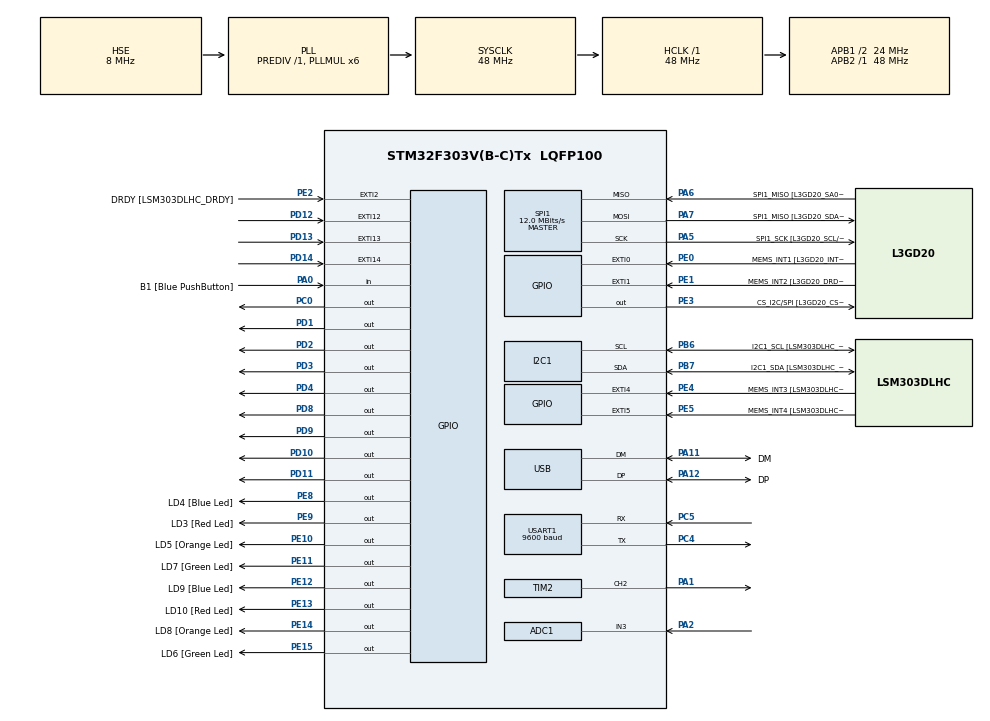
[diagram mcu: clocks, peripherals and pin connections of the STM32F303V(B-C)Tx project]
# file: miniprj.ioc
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ADC1.Channel-0\#ChannelRegularConversion=ADC_CHANNEL_3
ADC1.ContinuousConvMode=ENABLE
ADC1.NbrOfConversionFlag=1
ADC1.Offset-0\#ChannelRegularConversion=0
ADC1.OffsetNumber-0\#ChannelRegularConversion=ADC_OFFSET_NONE
ADC1.Rank-0\#ChannelRegularConversion=1
ADC1.Resolution=ADC_RESOLUTION_10B
ADC1.SamplingTime-0\#ChannelRegularConversion=ADC_SAMPLETIME_181CYCLES_5
ADC1.SamplingTimeOPAMP-0\#ChannelRegularConversion=ADC_SAMPLETIME_19CYCLES_5
ADC1.master=1
I2C1.Timing=0x2000090E
I2C1.Timing-I2C=0x2000090E
Mcu.Family=STM32F3
Mcu.Name=STM32F303V(B-C)Tx
Mcu.Package=LQFP100
NVIC.ADC1_2_IRQn=true\:0\:0\:false\:false\:true\:true\:true\:true
NVIC.EXTI15_10_IRQn=true\:0\:0\:false\:false\:true\:true\:true\:true
NVIC.PriorityGroup=NVIC_PRIORITYGROUP_0
NVIC.TIM1_TRG_COM_TIM17_IRQn=true\:0\:0\:false\:false\:true\:true\:true\:true
NVIC.TIM1_UP_TIM16_IRQn=true\:0\:0\:false\:false\:true\:true\:true\:true
NVIC.TIM6_DAC_IRQn=true\:0\:0\:false\:false\:true\:true\:true\:true
NVIC.TIM7_IRQn=true\:0\:0\:false\:false\:true\:true\:true\:true
NVIC.USART1_IRQn=true\:0\:0\:false\:false\:true\:true\:true\:true
PA0.GPIO_Label=B1 [Blue PushButton]
PA0.Signal=GPIO_Input
PA1.Signal=S_TIM2_CH2
PA11.GPIO_Label=DM
PA11.Mode=Device
PA11.Signal=USB_DM
PA12.GPIO_Label=DP
PA12.Mode=Device
PA12.Signal=USB_DP
PA13.GPIO_Label=SWDIO
PA13.Mode=Serial_Wire
PA13.Signal=SYS_JTMS-SWDIO
PA14.GPIO_Label=SWCLK
PA14.Mode=Serial_Wire
PA14.Signal=SYS_JTCK-SWCLK
PA2.Mode=IN3-Single-Ended
PA2.Signal=ADC1_IN3
PA5.GPIO_Label=SPI1_SCK [L3GD20_SCL/SPC]
PA5.Mode=Full_Duplex_Master
PA5.Signal=SPI1_SCK
PA6.GPIO_Label=SPI1_MISO [L3GD20_SA0/SDO]
PA6.Mode=Full_Duplex_Master
PA6.Signal=SPI1_MISO
PA7.GPIO_Label=SPI1_MISO [L3GD20_SDA/SDI/SDO]
PA7.Mode=Full_Duplex_Master
PA7.Signal=SPI1_MOSI
PB3.GPIO_Label=SWO
PB3.Signal=SYS_JTDO-TRACESWO
PB6.GPIO_Label=I2C1_SCL [LSM303DLHC_SCL]
PB6.GPIO_Pu=GPIO_PULLUP
PB6.Mode=I2C
PB6.Signal=I2C1_SCL
PB7.GPIO_Label=I2C1_SDA [LSM303DLHC_SDA]
PB7.GPIO_Pu=GPIO_PULLUP
PB7.Mode=I2C
PB7.Signal=I2C1_SDA
PC0.Signal=GPIO_Output
PC14-OSC32_IN.GPIO_Label=OSC32_IN
PC14-OSC32_IN.Signal=RCC_OSC32_IN
PC15-OSC32_OUT.GPIO_Label=OSC32_OUT
PC15-OSC32_OUT.Signal=RCC_OSC32_OUT
PC4.Mode=Asynchronous
PC4.Signal=USART1_TX
PC5.Mode=Asynchronous
PC5.Signal=USART1_RX
PD1.Signal=GPIO_Output
PD10.Signal=GPIO_Output
PD11.Signal=GPIO_Output
PD12.GPIO_ModeDefaultEXTI=GPIO_MODE_IT_RISING_FALLING
PD12.GPIO_PuPd=GPIO_PULLDOWN
PD12.Signal=GPXTI12
PD13.GPIO_ModeDefaultEXTI=GPIO_MODE_IT_RISING_FALLING
PD13.GPIO_PuPd=GPIO_PULLDOWN
PD13.Signal=GPXTI13
PD14.GPIO_ModeDefaultEXTI=GPIO_MODE_IT_RISING_FALLING
PD14.GPIO_PuPd=GPIO_PULLDOWN
PD14.Signal=GPXTI14
PD2.Signal=GPIO_Output
PD3.Signal=GPIO_Output
PD4.Signal=GPIO_Output
PD8.Signal=GPIO_Output
PD9.Signal=GPIO_Output
PE0.GPIO_Label=MEMS_INT1 [L3GD20_INT1]
PE0.GPIO_ModeDefaultEXTI=GPIO_MODE_EVT_RISING
PE0.Signal=GPXTI0
PE1.GPIO_Label=MEMS_INT2 [L3GD20_DRDY/INT2]
PE1.GPIO_ModeDefaultEXTI=GPIO_MODE_EVT_RISING
PE1.Signal=GPXTI1
PE10.GPIO_Label=LD5 [Orange Led]
PE10.Signal=GPIO_Output
PE11.GPIO_Label=LD7 [Green Led]
PE11.Signal=GPIO_Output
PE12.GPIO_Label=LD9 [Blue Led]
PE12.Signal=GPIO_Output
PE13.GPIO_Label=LD10 [Red Led]
PE13.Signal=GPIO_Output
PE14.GPIO_Label=LD8 [Orange Led]
PE14.Signal=GPIO_Output
PE15.GPIO_Label=LD6 [Green Led]
PE15.Signal=GPIO_Output
PE2.GPIO_Label=DRDY [LSM303DLHC_DRDY]
PE2.GPIO_ModeDefaultEXTI=GPIO_MODE_EVT_RISING
PE2.Signal=GPXTI2
PE3.GPIO_Label=CS_I2C/SPI [L3GD20_CS_I2C/SPI]
PE3.Signal=GPIO_Output
PE4.GPIO_Label=MEMS_INT3 [LSM303DLHC_INT1]
PE4.GPIO_ModeDefaultEXTI=GPIO_MODE_EVT_RISING
PE4.Signal=GPXTI4
PE5.GPIO_Label=MEMS_INT4 [LSM303DLHC_INT2]
PE5.GPIO_ModeDefaultEXTI=GPIO_MODE_EVT_RISING
PE5.Signal=GPXTI5
PE8.GPIO_Label=LD4 [Blue Led]
PE8.Signal=GPIO_Output
PE9.GPIO_Label=LD3 [Red Led]
PE9.Signal=GPIO_Output
PF0-OSC_IN.GPIO_Label=OSC_IN
PF0-OSC_IN.Mode=HSE-External-Clock-Source
PF0-OSC_IN.Signal=RCC_OSC_IN
PF1-OSC_OUT.GPIO_Label=OSC_OUT
PF1-OSC_OUT.Signal=RCC_OSC_OUT
ProjectManager.HeapSize=0x200
ProjectManager.StackSize=0x400
ProjectManager.TargetToolchain=STM32CubeIDE
RCC.AHBFreq_Value=48000000
RCC.APB1CLKDivider=RCC_HCLK_DIV2
RCC.APB1Freq_Value=24000000
RCC.APB1TimFreq_Value=48000000
RCC.APB2Freq_Value=48000000
RCC.APB2TimFreq_Value=48000000
RCC.CortexFreq_Value=48000000
RCC.HCLKFreq_Value=48000000
RCC.HSE_VALUE=8000000
RCC.HSI_VALUE=8000000
RCC.LSE_VALUE=32768
RCC.PLLMUL=RCC_PLL_MUL6
RCC.SYSCLKFreq_VALUE=48000000
RCC.SYSCLKSourceVirtual=RCC_SYSCLKSOURCE_PLLCLK
RCC.USBFreq_Value=48000000
SH.S_TIM2_CH2.0=TIM2_CH2,PWM Generation2 CH2
SPI1.BaudRatePrescaler=SPI_BAUDRATEPRESCALER_4
SPI1.BaudRatePrescaler-Full_Duplex_Master=SPI_BAUDRATEPRESCALER_2
SPI1.CalculateBaudRate=12.0 MBits/s
SPI1.CalculateBaudRate-Full_Duplex_Master=24.0 MBits/s
SPI1.Direction=SPI_DIRECTION_2LINES
SPI1.Mode=SPI_MODE_MASTER
SPI1.Mode-Full_Duplex_Master=SPI_MODE_MASTER
SPI1.VirtualType=VM_MASTER
TIM16.Period=1000-1
TIM16.Prescaler=48-1
TIM17.Period=1000-1
TIM17.Prescaler=48-1
TIM2.Channel-PWM\ Generation2\ CH2=TIM_CHANNEL_2
TIM6.Period=5000-1
TIM6.Prescaler=48-1
TIM7.Period=10000-1
TIM7.Prescaler=48-1
USART1.BaudRate=9600
USART1.VirtualMode-Asynchronous=VM_ASYNC
VP_TIM16_VS_ClockSourceINT.Mode=Enable_Timer
VP_TIM17_VS_ClockSourceINT.Mode=Enable_Timer
VP_TIM6_VS_ClockSourceINT.Mode=Enable_Timer
VP_TIM7_VS_ClockSourceINT.Mode=Enable_Timer
board=STM32F3DISCOVERY

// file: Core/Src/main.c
/* USER CODE BEGIN Header */
/**
  ******************************************************************************
  * @file           : main.c
  * @brief          : Main program body
  ******************************************************************************
  * @attention
  *
  * Copyright (c) 2024 STMicroelectronics.
  * All rights reserved.
  *
  * This software is licensed under terms that can be found in the LICENSE file
  * in the root directory of this software component.
  * If no LICENSE file comes with this software, it is provided AS-IS.
  *
  ******************************************************************************
  */
/* USER CODE END Header */
#include "main.h"

/* USER CODE BEGIN Includes */
#include <string.h>
#include <ctype.h>
#include <stdlib.h>
/* USER CODE END Includes */

/* USER CODE BEGIN PTD */
typedef struct
{
    uint16_t frequency;
    uint16_t duration;
} Tone;

#define NOTE_B0  31
#define NOTE_C1  33
#define NOTE_CS1 35
#define NOTE_D1  37
#define NOTE_DS1 39
#define NOTE_E1  41
#define NOTE_F1  44
#define NOTE_FS1 46
#define NOTE_G1  49
#define NOTE_GS1 52
#define NOTE_A1  55
#define NOTE_AS1 58
#define NOTE_B1  62
#define NOTE_C2  65
#define NOTE_CS2 69
#define NOTE_D2  73
#define NOTE_DS2 78
#define NOTE_E2  82
#define NOTE_F2  87
#define NOTE_FS2 93
#define NOTE_G2  98
#define NOTE_GS2 104
#define NOTE_A2  110
#define NOTE_AS2 117
#define NOTE_B2  123
#define NOTE_C3  131
#define NOTE_CS3 139
#define NOTE_D3  147
#define NOTE_DS3 156
#define NOTE_E3  165
#define NOTE_F3  175
#define NOTE_FS3 185
#define NOTE_G3  196
#define NOTE_GS3 208
#define NOTE_A3  220
#define NOTE_AS3 233
#define NOTE_B3  247
#define NOTE_C4  262
#define NOTE_CS4 277
#define NOTE_D4  294
#define NOTE_DS4 311
#define NOTE_E4  330
#define NOTE_F4  349
#define NOTE_FS4 370
#define NOTE_G4  392
#define NOTE_GS4 415
#define NOTE_A4  440
#define NOTE_AS4 466
#define NOTE_B4  494
#define NOTE_C5  523
#define NOTE_CS5 554
#define NOTE_D5  587
#define NOTE_DS5 622
#define NOTE_E5  659
#define NOTE_F5  698
#define NOTE_FS5 740
#define NOTE_G5  784
#define NOTE_GS5 831
#define NOTE_A5  880
#define NOTE_AS5 932
#define NOTE_B5  988
#define NOTE_C6  1047
#define NOTE_CS6 1109
#define NOTE_D6  1175
#define NOTE_DS6 1245
#define NOTE_E6  1319
#define NOTE_F6  1397
#define NOTE_FS6 1480
#define NOTE_G6  1568
#define NOTE_GS6 1661
#define NOTE_A6  1760
#define NOTE_AS6 1865
#define NOTE_B6  1976
#define NOTE_C7  2093
#define NOTE_CS7 2217
#define NOTE_D7  2349
#define NOTE_DS7 2489
#define NOTE_E7  2637
#define NOTE_F7  2794
#define NOTE_FS7 2960
#define NOTE_G7  3136
#define NOTE_GS7 3322
#define NOTE_A7  3520
#define NOTE_AS7 3729
#define NOTE_B7  3951
#define NOTE_C8  4186
#define NOTE_CS8 4435
#define NOTE_D8  4699
#define NOTE_DS8 4978
#define REST      0
#define DEBOUNCE_TIME 100

const Tone super_mario_bros[] = {
    {2637, 306}, {0, 153}, {2637, 153}, {0, 153}, {2093, 153},
    {2637, 153}, {0, 153}, {3136, 153}, {0, 459}, {1586, 153},
    {0, 459}, {2093, 153}, {0, 306}, {1586, 153}, {0, 306}, {1319, 153},
    {0, 306}, {1760, 153}, {0, 153}, {1976, 153}, {0, 153}, {1865, 153},
    {1760, 153}, {0, 153}, {1586, 204}, {2637, 204}, {3136, 204}, {3520, 153},
    {0, 153}, {2794, 153}, {3136, 153}, {0, 153}, {2637, 153}, {0, 153},
    {2093, 153}, {2349, 153}, {1976, 153}, {0, 306}, {2093, 153}, {0, 306},
    {1586, 153}, {0, 306}, {1319, 153}, {0, 306}, {1760, 153}, {0, 153},
    {1976, 153}, {0, 153}, {1865, 153}, {1760, 153}, {0, 153}, {1586, 204},
    {2637, 204}, {3136, 204}, {3520, 153}, {0, 153}, {2794, 153}, {3136, 153},
    {0, 153}, {2637, 153}, {0, 153}, {2093, 153}, {2349, 153}, {1976, 153},
    {0, 306}, {2093, 153}, {0, 306}, {1586, 153}, {0, 306}, {1319, 153},
    {0, 306}, {1760, 153}, {0, 153}, {1976, 153}, {0, 153}, {1865, 153},
    {1760, 153}, {0, 153}, {1586, 204}, {2637, 204}, {3136, 204}, {3520, 153},
    {0, 153}, {2794, 153}, {3136, 153}, {0, 153}, {2637, 153}, {0, 153},
    {2093, 153}, {2349, 153}, {1976, 153}, {0, 306}, {0, 300},{0,0}
};

const Tone hedwig_theme[] = {
    {REST, 750}, {NOTE_D4, 374}, {NOTE_G4, 561}, {NOTE_AS4, 187},
    {NOTE_A4, 374}, {NOTE_G4, 750}, {NOTE_D5, 374}, {NOTE_C5, 1124},
    {NOTE_A4, 1124}, {NOTE_G4, 561}, {NOTE_AS4, 187}, {NOTE_A4, 374},
    {NOTE_F4, 750}, {NOTE_GS4, 374}, {NOTE_D4, 2249}, {NOTE_D4, 374},
    {NOTE_G4, 561}, {NOTE_AS4, 187}, {NOTE_A4, 374}, {NOTE_G4, 750},
    {NOTE_D5, 374}, {NOTE_F5, 750}, {NOTE_E5, 374}, {NOTE_DS5, 750},
    {NOTE_B4, 374}, {NOTE_DS5, 561}, {NOTE_D5, 187}, {NOTE_CS5, 374},
    {NOTE_CS4, 750}, {NOTE_B4, 374}, {NOTE_G4, 2249}, {NOTE_AS4, 374},
    {NOTE_D5, 750}, {NOTE_AS4, 374}, {NOTE_D5, 750}, {NOTE_AS4, 374},
    {NOTE_DS5, 750}, {NOTE_D5, 374}, {NOTE_CS5, 750}, {NOTE_A4, 374},
    {NOTE_AS4, 561}, {NOTE_D5, 187}, {NOTE_CS5, 374}, {NOTE_CS4, 750},
    {NOTE_D4, 374}, {NOTE_D5, 1700}, {REST, 150}, {NOTE_AS4, 374},
    {NOTE_D5, 750}, {NOTE_AS4, 374}, {NOTE_D5, 750}, {NOTE_AS4, 374},
    {NOTE_F5, 750}, {NOTE_E5, 374},
	{NOTE_DS5, 750}, {NOTE_B4, 374}, {NOTE_DS5, 561}, {NOTE_D5, 187},
	{NOTE_CS5, 374}, {NOTE_CS4, 750}, {NOTE_AS4, 374}, {NOTE_G4, 2249},
	{0, 1000},{0,0}
};

const Tone pink_panther[] = {
	{REST, 900}, {REST, 450}, {REST, 225}, {NOTE_DS4, 225},
	{NOTE_E4, 675}, {REST, 225}, {NOTE_FS4, 225}, {NOTE_G4, 675},
	{REST, 225}, {NOTE_DS4, 225}, {NOTE_E4, 337}, {NOTE_FS4, 225},
	{NOTE_G4, 337}, {NOTE_C5, 225}, {NOTE_B4, 337}, {NOTE_B4, 225},
	{NOTE_G4, 337}, {NOTE_B4, 225}, {NOTE_AS4, 900}, {NOTE_A4, 168},
	{NOTE_G4, 168}, {NOTE_E4, 168}, {NOTE_D4, 168}, {NOTE_E4, 900},
	{REST, 450}, {REST, 225}, {NOTE_DS4, 450}, {NOTE_E4, 675},
	{REST, 225}, {NOTE_FS4, 225}, {NOTE_G4, 675}, {REST, 225},
	{NOTE_DS4, 225}, {NOTE_E4, 337}, {NOTE_FS4, 225}, {NOTE_G4, 337},
	{NOTE_C5, 225}, {NOTE_B4, 337}, {NOTE_G4, 225}, {NOTE_B4, 337},
	{NOTE_E5, 225}, {NOTE_DS5, 1800}, {NOTE_D5, 900}, {REST, 450},
	{REST, 225}, {NOTE_DS4, 225}, {NOTE_E4, 750}, {REST, 225},
	{NOTE_FS4, 225}, {NOTE_G4, 750}, {REST, 225}, {NOTE_DS4, 225},
	{NOTE_E4, 337}, {NOTE_FS4, 225}, {NOTE_G4, 337}, {NOTE_C5, 225},
	{NOTE_B4, 337}, {NOTE_E4, 225}, {NOTE_G4, 337}, {NOTE_B4, 225},
	{NOTE_AS4, 900}, {NOTE_A4, 168}, {NOTE_G4, 168}, {NOTE_E4, 168},
	{NOTE_D4, 168}, {NOTE_E4, 675}, {REST, 450}, {REST, 450},
	{NOTE_E5, 337}, {NOTE_D5, 225}, {NOTE_B4, 337}, {NOTE_A4, 225},
	{NOTE_G4, 337}, {NOTE_E4, 337}, {NOTE_AS4, 112}, {NOTE_A4, 337},
	{NOTE_AS4, 112}, {NOTE_A4, 337}, {NOTE_AS4, 112}, {NOTE_A4, 337},
	{NOTE_AS4, 112}, {NOTE_A4, 337}, {NOTE_G4, 168}, {NOTE_E4, 168},
	{NOTE_D4, 168}, {NOTE_E4, 112}, {NOTE_E4, 112}, {NOTE_E4, 900},
	{0, 1000},{0,0}
};

const Tone got[] = {
    {392, 225}, {262, 225}, {311, 112}, {349, 112}, {392, 225}, {262, 225}, {311, 112}, {349, 112},
    {392, 225}, {262, 225}, {311, 112}, {349, 112}, {392, 225}, {262, 225}, {311, 112}, {349, 112},
    {392, 225}, {262, 225}, {330, 112}, {349, 112}, {392, 225}, {262, 225}, {330, 112}, {349, 112},
    {392, 225}, {262, 225}, {330, 112}, {349, 112}, {392, 225}, {262, 225}, {330, 112}, {349, 112},
    {392, 450}, {262, 450},

    {311, 112}, {349, 112}, {392, 450}, {262, 450}, {311, 112}, {349, 112},
    {294, 1800},
    {349, 450}, {233, 450},
    {311, 112}, {294, 112}, {349, 450}, {233, 450},
    {311, 112}, {294, 112}, {262, 1800},

    {392, 450}, {262, 450},

    {311, 112}, {349, 112}, {392, 450}, {262, 450}, {311, 112}, {349, 112},
    {294, 1800},
    {349, 450}, {233, 450},
    {311, 112}, {294, 112}, {349, 450}, {233, 450},
    {311, 112}, {294, 112}, {262, 1800},
    {392, 450}, {262, 450},
    {311, 112}, {349, 112}, {392, 450}, {262, 450}, {311, 112}, {349, 112},

    {294, 900},
    {349, 450}, {233, 450},
    {294, 225}, {311, 225}, {294, 225}, {233, 225},
    {262, 1800},
    {523, 900},
    {466, 900},
    {262, 900},
    {392, 900},
    {311, 900},
    {311, 450}, {349, 450},
    {392, 1800},

    {523, 900},
    {466, 900},
    {262, 900},
    {392, 900},
    {311, 900},
    {311, 450}, {294, 450},
    {523, 225}, {392, 225}, {415, 112}, {466, 112}, {523, 225}, {392, 225}, {415, 112}, {466, 112},
    {523, 225}, {392, 225}, {415, 112}, {466, 112}, {523, 225}, {392, 225}, {415, 112}, {466, 112},

    {0, 450}, {415, 112}, {466, 112}, {523, 225}, {392, 225}, {415, 112}, {466, 112},
    {523, 225}, {392, 112}, {415, 112}, {466, 112}, {523, 225}, {392, 225}, {415, 112}, {466, 112},{0,1000},{0,0}
};
const Tone home_alone[] = {
    {330, 450}, {523, 225}, {494, 225}, {494, 900},
    {523, 225}, {494, 225}, {349, 450}, {392, 450},
    {392, 450}, {330, 450}, {392, 450}, {330, 450},
    {523, 900}, {392, 900},
    {294, 450}, {440, 450}, {392, 450}, {262, 225}, {349, 225},
    {330, 900}, {294, 900},
    {392, 450}, {330, 450}, {392, 450}, {330, 450},
    {523, 900}, {392, 900},
    {440, 225}, {523, 225}, {349, 450}, {330, 225}, {392, 225}, {262, 450},
    {330, 900}, {294, 900},
    {0, 450}, {330, 225}, {262, 225}, {349, 450}, {294, 450},
    {0, 450}, {370, 225}, {294, 225}, {440, 450}, {392, 450},
    {0, 450}, {415, 225}, {330, 225}, {494, 450}, {440, 450},
    {349, 450}, {523, 900}, {440, 450}, {494, 450},
    {392, 450}, {330, 450}, {392, 450}, {330, 450},
    {523, 900}, {392, 900},
    {294, 450}, {440, 450}, {392, 450}, {262, 225}, {349, 225},
    {330, 900}, {294, 900},
    {392, 450}, {330, 450}, {392, 450}, {330, 450},
    {523, 900}, {392, 900},
    {0, 450}, {440, 112}, {494, 112}, {523, 225}, {392, 450}, {330, 450},
    {0, 450}, {440, 112}, {494, 112}, {523, 225}, {392, 450}, {330, 450},
    {0, 450}, {440, 112}, {494, 112}, {523, 225}, {392, 450}, {330, 450},
    {262, 450}, {523, 900}, {494, 450},
    {587, 450}, {330, 450}, {392, 450}, {330, 450},
    {523, 900}, {392, 900},
    {523, 1800},{0,1000},{0,0}
};
const Tone harry_poter[] = {
    {0, 900}, {294, 450}, // REST, D4
    {392, 450}, {466, 225}, {440, 450}, // G4, AS4, A4
    {392, 900}, {587, 450}, // G4, D5
    {523, 900}, // C5
    {440, 900}, // A4
    {392, 450}, {466, 225}, {440, 450}, // G4, AS4, A4
    {349, 900}, {415, 450}, // F4, GS4
    {294, 1800}, // D4
    {294, 450}, // D4

    {392, 450}, {466, 225}, {440, 450}, // G4, AS4, A4
    {392, 900}, {587, 450}, // G4, D5
    {698, 900}, {659, 450}, // F5, E5
    {622, 900}, {494, 450}, // DS5, B4
    {622, 450}, {587, 225}, {554, 450}, // DS5, D5, CS5
    {277, 900}, {494, 450}, // CS4, B4
    {392, 1800}, // G4
    {466, 450}, // AS4

    {587, 900}, {466, 450}, // D5, AS4
    {587, 900}, {466, 450}, // D5, AS4
    {622, 900}, {587, 450}, // DS5, D5
    {554, 900}, {440, 450}, // CS5, A4
    {466, 450}, {587, 225}, {554, 450}, // AS4, D5, CS5
    {277, 900}, {294, 450}, // CS4, D4
    {587, 1800}, // D5
    {0, 450}, {466, 450}, // REST, AS4

    {587, 900}, {466, 450}, // D5, AS4
    {587, 900}, {466, 450}, // D5, AS4
    {698, 900}, {659, 450}, // F5, E5
    {622, 900}, {494, 450}, // DS5, B4
    {622, 450}, {587, 225}, {554, 450}, // DS5, D5, CS5
    {277, 900}, {466, 450}, // CS4, AS4
    {392, 1800},{0,1000},{0,0} // G4
};
const Tone subwaysurf[] = {
    {NOTE_C4, 450}, {REST, 225}, {NOTE_G4, 450}, {REST, 225}, {NOTE_AS4, 450}, {NOTE_C5, 225}, {NOTE_AS4, 225}, {REST, 112}, {NOTE_F4, 225}, {NOTE_DS4, 225}, {REST, 112},
    {NOTE_C4, 450}, {REST, 225}, {NOTE_G4, 450}, {REST, 225}, {NOTE_AS4, 450}, {NOTE_C5, 225}, {NOTE_AS4, 225}, {REST, 112}, {NOTE_F4, 225}, {NOTE_DS4, 225}, {REST, 112},
    {NOTE_C4, 450}, {REST, 225}, {NOTE_G4, 450}, {REST, 225}, {NOTE_AS4, 450}, {NOTE_C5, 225}, {NOTE_AS4, 225}, {REST, 112}, {NOTE_F4, 225}, {NOTE_DS4, 225}, {REST, 112},

    {NOTE_C4, 450}, {REST, 225}, {NOTE_E4, 450}, {REST, 225}, {NOTE_G4, 450}, {NOTE_A4, 450}, {NOTE_AS4, 450},
    {NOTE_C5, 225}, {REST, 112}, {NOTE_C5, 225}, {REST, 112}, {NOTE_AS4, 225}, {REST, 112}, {NOTE_A4, 225}, {REST, 112},
    {NOTE_AS4, 225}, {REST, 112}, {NOTE_AS4, 225}, {NOTE_C5, 225}, {REST, 112}, {NOTE_AS4, 225}, {NOTE_A4, 225}, {REST, 112},
    {REST, 450},
    {NOTE_C5, 225}, {REST, 112}, {NOTE_AS4, 225}, {REST, 112}, {NOTE_A4, 225}, {REST, 112}, {NOTE_AS4, 225}, {REST, 450}, {NOTE_E5, 225},
    {REST, 450},

    {NOTE_C5, 225}, {REST, 112}, {NOTE_C5, 225}, {REST, 112}, {NOTE_AS4, 225}, {REST, 112}, {NOTE_A4, 225}, {REST, 112},
    {NOTE_AS4, 225}, {REST, 112}, {NOTE_AS4, 225}, {NOTE_C5, 225}, {REST, 112}, {NOTE_AS4, 225}, {NOTE_A4, 225}, {REST, 112},
    {REST, 450},
    {NOTE_C5, 225}, {REST, 112}, {NOTE_AS4, 225}, {REST, 112}, {NOTE_A4, 225}, {REST, 112}, {NOTE_AS4, 225}, {REST, 450}, {NOTE_E4, 225},
    {REST, 1800},{0,1000},{0,0}
};
const Tone crb[] = {
    {NOTE_E4, 500}, {NOTE_G4, 500}, {NOTE_A4, 250}, {NOTE_A4, 500}, {REST, 500},
    {NOTE_A4, 500}, {NOTE_B4, 500}, {NOTE_C5, 250}, {NOTE_C5, 500}, {REST, 500},
    {NOTE_C5, 500}, {NOTE_D5, 500}, {NOTE_B4, 250}, {NOTE_B4, 500}, {REST, 500},
    {NOTE_A4, 500}, {NOTE_G4, 500}, {NOTE_A4, 250}, {REST, 500},

    {NOTE_E4, 500}, {NOTE_G4, 500}, {NOTE_A4, 250}, {NOTE_A4, 500}, {REST, 500},
    {NOTE_A4, 500}, {NOTE_B4, 500}, {NOTE_C5, 250}, {NOTE_C5, 500}, {REST, 500},
    {NOTE_C5, 500}, {NOTE_D5, 500}, {NOTE_B4, 250}, {NOTE_B4, 500}, {REST, 500},
    {NOTE_A4, 500}, {NOTE_G4, 500}, {NOTE_A4, 250}, {REST, 500},

    {NOTE_E4, 500}, {NOTE_G4, 500}, {NOTE_A4, 250}, {NOTE_A4, 500}, {REST, 500},
    {NOTE_A4, 500}, {NOTE_C5, 500}, {NOTE_D5, 250}, {NOTE_D5, 500}, {REST, 500},
    {NOTE_D5, 500}, {NOTE_E5, 500}, {NOTE_F5, 250}, {NOTE_F5, 500}, {REST, 500},
    {NOTE_E5, 500}, {NOTE_D5, 500}, {NOTE_E5, 250}, {NOTE_A4, 500}, {REST, 500},

    {NOTE_A4, 500}, {NOTE_B4, 500}, {NOTE_C5, 250}, {NOTE_C5, 500}, {REST, 500},
    {NOTE_D5, 500}, {NOTE_E5, 500}, {NOTE_A4, 250}, {REST, 500},
    {NOTE_A4, 500}, {NOTE_C5, 500}, {NOTE_B4, 250}, {NOTE_B4, 500}, {REST, 500},
    {NOTE_C5, 500}, {NOTE_A4, 500}, {NOTE_B4, 250}, {REST, 500},

    {NOTE_A4, 500}, {NOTE_A4, 250},
    // Repeat of the first part
    {NOTE_A4, 500}, {NOTE_B4, 500}, {NOTE_C5, 250}, {NOTE_C5, 500}, {REST, 500},
    {NOTE_C5, 500}, {NOTE_D5, 500}, {NOTE_B4, 250}, {NOTE_B4, 500}, {REST, 500},
    {NOTE_A4, 500}, {NOTE_G4, 500}, {NOTE_A4, 250}, {REST, 500},

    {NOTE_E4, 500}, {NOTE_G4, 500}, {NOTE_A4, 250}, {NOTE_A4, 500}, {REST, 500},
    {NOTE_A4, 500}, {NOTE_B4, 500}, {NOTE_C5, 250}, {NOTE_C5, 500}, {REST, 500},
    {NOTE_C5, 500}, {NOTE_D5, 500}, {NOTE_B4, 250}, {NOTE_B4, 500}, {REST, 500},
    {NOTE_A4, 500}, {NOTE_G4, 500}, {NOTE_A4, 250}, {REST, 500},

    {NOTE_E4, 500}, {NOTE_G4, 500}, {NOTE_A4, 250}, {NOTE_A4, 500}, {REST, 500},
    {NOTE_A4, 500}, {NOTE_C5, 500}, {NOTE_D5, 250}, {NOTE_D5, 500}, {REST, 500},
    {NOTE_D5, 500}, {NOTE_E5, 500}, {NOTE_F5, 250}, {NOTE_F5, 500}, {REST, 500},
    {NOTE_E5, 500}, {NOTE_D5, 500}, {NOTE_E5, 250}, {NOTE_A4, 500}, {REST, 500},

    {NOTE_A4, 500}, {NOTE_B4, 500}, {NOTE_C5, 250}, {NOTE_C5, 500}, {REST, 500},
    {NOTE_D5, 500}, {NOTE_E5, 500}, {NOTE_A4, 250}, {REST, 500},
    {NOTE_A4, 500}, {NOTE_C5, 500}, {NOTE_B4, 250}, {NOTE_B4, 500}, {REST, 500},
    {NOTE_C5, 500}, {NOTE_A4, 500}, {NOTE_B4, 250}, {REST, 500},
    // End of Repeat

    {NOTE_E5, 375}, {REST, 187}, {REST, 187}, {NOTE_F5, 375}, {REST, 187}, {REST, 187},
    {NOTE_E5, 375}, {NOTE_E5, 375}, {REST, 187}, {NOTE_G5, 375}, {REST, 187}, {NOTE_E5, 375}, {NOTE_D5, 375}, {REST, 187}, {REST, 187},
    {NOTE_D5, 375}, {REST, 187}, {REST, 187}, {NOTE_C5, 375}, {REST, 187}, {REST, 187},
    {NOTE_B4, 375}, {NOTE_C5, 375}, {REST, 187}, {NOTE_B4, 375}, {REST, 187}, {NOTE_A4, 750},

    {NOTE_E5, 375}, {REST, 187},
{REST, 187}, {REST, 187}, {NOTE_F5, 375}, {REST, 187}, {REST, 187},
	{NOTE_E5, 375}, {NOTE_E5, 375}, {REST, 187}, {NOTE_G5, 375}, {REST, 187}, {NOTE_E5, 375}, {NOTE_D5, 375}, {REST, 187}, {REST, 187},
	{NOTE_D5, 375}, {REST, 187}, {REST, 187}, {NOTE_C5, 375}, {REST, 187}, {REST, 187},
	{NOTE_B4, 375}, {NOTE_C5, 375}, {REST, 187}, {NOTE_B4, 375}, {REST, 187}, {NOTE_A4, 750},{0,1000},{0,0}
};
/* USER CODE END PTD */

ADC_HandleTypeDef hadc1;

I2C_HandleTypeDef hi2c1;

SPI_HandleTypeDef hspi1;

TIM_HandleTypeDef htim2;
TIM_HandleTypeDef htim6;
TIM_HandleTypeDef htim7;
TIM_HandleTypeDef htim16;
TIM_HandleTypeDef htim17;

UART_HandleTypeDef huart1;

PCD_HandleTypeDef hpcd_USB_FS;

void SystemClock_Config(void);
static void MX_GPIO_Init(void);
static void MX_I2C1_Init(void);
static void MX_SPI1_Init(void);
static void MX_USB_PCD_Init(void);
static void MX_TIM2_Init(void);
static void MX_ADC1_Init(void);
static void MX_USART1_UART_Init(void);
static void MX_TIM6_Init(void);
static void MX_TIM7_Init(void);
static void MX_TIM16_Init(void);
static void MX_TIM17_Init(void);

/* USER CODE BEGIN 0 */
uint8_t data[100];
uint8_t d;
uint8_t i = 0;
int digit[4];
int vlm = 2;
int current_music = 1;
int temp_digit = 0;
int pause = 1;
int first_unpause = 1;
int volume_mode = 0;
int music_mode = 0;
int input = 0;
int input2 = 2;
int is_shuffle = 0;
int is_pause_after = 0;
int pause_after_time = 0;
int pause_after_start = 0;
TIM_HandleTypeDef *pwm_timer  = &htim2;
uint32_t pwm_channel = TIM_CHANNEL_2;
const Tone *volatile melody_ptr;
volatile uint16_t melody_tone_count;
volatile uint16_t current_tone_number;
volatile uint32_t current_tone_end;

void Play_Music (){
	if (current_music == 1){
		Change_Melody(pink_panther,  sizeof(pink_panther) / sizeof(pink_panther[0]));
	}
	else if (current_music == 2){
		Change_Melody(crb,  sizeof(crb) / sizeof(crb[0]));
	}
	else if (current_music == 3){
		Change_Melody(got,  sizeof(got) / sizeof(got[0]));
	}
	else if (current_music == 4){
		Change_Melody(subwaysurf,  sizeof(subwaysurf) / sizeof(subwaysurf[0]));
	}
	else if (current_music == 5){
		Change_Melody(harry_poter,  sizeof(harry_poter) / sizeof(harry_poter[0]));
	}
	else if (current_music == 6){
		Change_Melody(home_alone,  sizeof(home_alone) / sizeof(home_alone[0]));
	}
	else if (current_music == 7){
		Change_Melody(hedwig_theme,  sizeof(hedwig_theme) / sizeof(hedwig_theme[0]));
	}
	else if (current_music == 8){
		Change_Melody(super_mario_bros,  sizeof(super_mario_bros) / sizeof(super_mario_bros[0]));
	}
}
void Change_Melody(const Tone *melody,uint32_t tone_count){
	melody_ptr = melody;
	melody_tone_count = tone_count;
	current_tone_number = 0;
}
void Update_Melody(){
	if ((HAL_GetTick() > current_tone_end) && (current_tone_number < melody_tone_count)){
		const Tone active_tone = *(melody_ptr + current_tone_number);
		PWM_Change_Tone(active_tone.frequency, vlm);
		current_tone_end = HAL_GetTick() + active_tone.duration;
		current_tone_number++;
	}
	else if (current_tone_number >= melody_tone_count && melody_tone_count != 0){
		if (is_shuffle == 0){
			current_music++;
			if (current_music>8){
				current_music = 1;
			}
		}
		else {
			uint32_t time = HAL_GetTick()%7;
			time++;
			current_music += time;
			if (current_music > 8){
				current_music -= 8;
			}
		}
		Play_Music();
		char response[100];
		uint32_t time = HAL_GetTick();
		sprintf(response,"[INFO][Music Changed to %d][%lu]\n",current_music,time);
		HAL_UART_Transmit(&huart1, response, strlen(response), HAL_MAX_DELAY);
	}
}
void tokenize (int input){
	digit[3] = input%10;
	digit[2] = (input/10)%10;
	digit[1] = (input/100)%10;
	digit[0] = (input/1000)%10;
}
void shownumber (int x){
	HAL_GPIO_WritePin(GPIOD, GPIO_PIN_8, x%2);
	x/=2;
	HAL_GPIO_WritePin(GPIOD, GPIO_PIN_9, x%2);
	x/=2;
	HAL_GPIO_WritePin(GPIOD, GPIO_PIN_10, x%2);
	x/=2;
	HAL_GPIO_WritePin(GPIOD, GPIO_PIN_11, x%2);
}
void active_digits (){
	HAL_GPIO_WritePin(GPIOC, GPIO_PIN_0, 1);
	if (temp_digit == 0){
		HAL_GPIO_WritePin(GPIOD, GPIO_PIN_1, 1);
		HAL_GPIO_WritePin(GPIOD, GPIO_PIN_2, 0);
		HAL_GPIO_WritePin(GPIOD, GPIO_PIN_3, 0);
		HAL_GPIO_WritePin(GPIOD, GPIO_PIN_4, 0);
		shownumber(digit[0]);
		temp_digit = 1;
	}
	else if (temp_digit == 1){
		HAL_GPIO_WritePin(GPIOD, GPIO_PIN_1, 0);
		HAL_GPIO_WritePin(GPIOD, GPIO_PIN_2, 1);
		HAL_GPIO_WritePin(GPIOD, GPIO_PIN_3, 0);
		HAL_GPIO_WritePin(GPIOD, GPIO_PIN_4, 0);
		shownumber(digit[1]);
		temp_digit = 2;
	}
	else if (temp_digit == 2){
		HAL_GPIO_WritePin(GPIOD, GPIO_PIN_1, 0);
		HAL_GPIO_WritePin(GPIOD, GPIO_PIN_2, 0);
		HAL_GPIO_WritePin(GPIOD, GPIO_PIN_3, 1);
		HAL_GPIO_WritePin(GPIOD, GPIO_PIN_4, 0);
		shownumber(digit[2]);
		temp_digit = 3;
	}
	else if (temp_digit == 3){
		HAL_GPIO_WritePin(GPIOD, GPIO_PIN_1, 0);
		HAL_GPIO_WritePin(GPIOD, GPIO_PIN_2, 0);
		HAL_GPIO_WritePin(GPIOD, GPIO_PIN_3, 0);
		HAL_GPIO_WritePin(GPIOD, GPIO_PIN_4, 1);
		shownumber(digit[3]);
		temp_digit = 0;
	}
}
void deactive_digits(){
	HAL_GPIO_WritePin(GPIOD, GPIO_PIN_1, 0);
	HAL_GPIO_WritePin(GPIOD, GPIO_PIN_2, 0);
	HAL_GPIO_WritePin(GPIOD, GPIO_PIN_3, 0);
	HAL_GPIO_WritePin(GPIOD, GPIO_PIN_4, 0);
}
void PWM_Start(){
	HAL_TIM_PWM_Start(pwm_timer,pwm_channel);
}

void PWM_Change_Tone(uint16_t pwm_freq,uint16_t volume){
	if (pwm_freq == 0 || pwm_freq > 20000){
		__HAL_TIM_SET_COMPARE(pwm_timer,pwm_channel,0);
	}
	else{
		const uint32_t internal_clock_freq = HAL_RCC_GetSysClockFreq();
		const uint16_t prescaler = 1 + internal_clock_freq / pwm_freq / 60000;
		const uint32_t timer_clock = internal_clock_freq / prescaler;
		const uint32_t period_cycles = timer_clock / pwm_freq;
		const uint32_t pulse_width = volume * period_cycles / 1000 / 2;

		pwm_timer->Instance->PSC = prescaler - 1;
		pwm_timer->Instance->ARR = period_cycles - 1;
		pwm_timer->Instance->EGR = TIM_EGR_UG;
		__HAL_TIM_SET_COMPARE(pwm_timer,pwm_channel,pulse_width);
	}
}

void HAL_ADC_ConvCpltCallback (ADC_HandleTypeDef* hadc){
	if (hadc->Instance == ADC1){
		uint32_t value;
		value = HAL_ADC_GetValue(hadc);
		if (music_mode == 1){
			int super_temp = (value/128)+1;
			input = super_temp;
		}
		else if (volume_mode == 1){
			int super_temp = (value/10)-2;
			if (super_temp < 0){
				super_temp = 0;
			}
			input2 = (super_temp);
		}
	}
}
void HAL_TIM_PeriodElapsedCallback(TIM_HandleTypeDef *htim) {

	if (htim->Instance == TIM7) {
		if (music_mode == 1){
			if (input == 0){
				input = current_music;
			}
			tokenize(input);
		}
		else if (volume_mode == 1){
			tokenize(input2);
		}
		else{
			tokenize(current_music);
		}
	}
	if (htim->Instance == TIM6){
		if(!pause){
			active_digits();
		}
		else{
			deactive_digits();
		}
	}
	if (htim->Instance == TIM16){
		if(pause == 1 || music_mode == 1){
			PWM_Change_Tone(0, 0);
		}
		else {
			Update_Melody();
		}

	}
	if (htim->Instance == TIM17){
		if (is_pause_after == 1 && HAL_GetTick() - pause_after_start >= pause_after_time * 1000){
			pause = 1;
			is_pause_after = 0;
			pause_after_start = 0;
			pause_after_time = 0;
		}
	}
}
void HAL_GPIO_EXTI_Callback(uint16_t GPIO_Pin){
	if(GPIO_Pin == GPIO_PIN_12){ // pin 0 triggered
		static uint32_t last_enter_time = 0;
		if (HAL_GPIO_ReadPin(GPIOD, GPIO_PIN_12)){ // rising edge
			if (HAL_GetTick() - last_enter_time < DEBOUNCE_TIME){
				return;
			}
			else{
				last_enter_time = HAL_GetTick();
			}
		}
		else if (!HAL_GPIO_ReadPin(GPIOD, GPIO_PIN_12)){ // falling edge
			if (HAL_GetTick() - last_enter_time < DEBOUNCE_TIME){// debounce
				return;
			}
			else { //short press
				last_enter_time = HAL_GetTick();
				if (pause == 1 && first_unpause == 1){
					uint32_t time = HAL_GetTick();
					char response[100];
					sprintf(response,"[INFO][Music Changed to 1][%lu]\n",time);
					HAL_UART_Transmit(&huart1, response, strlen(response), HAL_MAX_DELAY);
					Play_Music();
					first_unpause = 0;
				}
				pause = 1 - pause;
			}
		}

	}
	if(GPIO_Pin == GPIO_PIN_13){ // pin 0 triggered
			static uint32_t last_enter_time2 = 0;
			if (HAL_GPIO_ReadPin(GPIOD, GPIO_PIN_13)){ // rising edge
				if (HAL_GetTick() - last_enter_time2 < DEBOUNCE_TIME){
					return;
				}
				else{
					last_enter_time2 = HAL_GetTick();
					music_mode = 1;
				}
			}
			else{ // falling edge
				if (HAL_GetTick() - last_enter_time2 < DEBOUNCE_TIME){// debounce
					return;
				}
				else { //short press
					last_enter_time2 = HAL_GetTick();
					music_mode = 0;
					current_music = input;
					Play_Music();
					uint32_t time = HAL_GetTick();
					char response[100];
					sprintf(response,"[INFO][Music Changed to %d][%lu]\n",current_music,time);
					HAL_UART_Transmit(&huart1, response, strlen(response), HAL_MAX_DELAY);
				}
			}

		}
	if(GPIO_Pin == GPIO_PIN_14){ // pin 0 triggered
			static uint32_t last_enter_time3 = 0;
			if (HAL_GPIO_ReadPin(GPIOD, GPIO_PIN_14)){ // rising edge
				if (HAL_GetTick() - last_enter_time3 < DEBOUNCE_TIME){
					return;
				}
				else{
					last_enter_time3 = HAL_GetTick();
					volume_mode = 1;
				}
			}
			else{ // falling edge
				if (HAL_GetTick() - last_enter_time3 < DEBOUNCE_TIME){// debounce
					return;
				}
				else { //short press
					last_enter_time3 = HAL_GetTick();
					vlm = input2;
					uint32_t time = HAL_GetTick();
					char response[100];
					sprintf(response,"[INFO][Volume Changed to %d][%lu]\n",vlm,time);
					HAL_UART_Transmit(&huart1, response, strlen(response), HAL_MAX_DELAY);
					volume_mode = 0;
				}
			}

		}
}

void check_music_set(int x){
	if (x!=13){
		uint32_t time = HAL_GetTick();
		char response[100];
		sprintf(response,"[ERROR][UNKNOWN-COMMAND][%lu]\n",time);
		HAL_UART_Transmit(&huart1, response, strlen(response), HAL_MAX_DELAY);
	}
	else if (data[9]!='(' || data[11]!=')'){
		uint32_t time = HAL_GetTick();
		char response[100];
		sprintf(response,"[ERROR][FORGOT PARANTHESIS ?][%lu]\n",time);
		HAL_UART_Transmit(&huart1, response, strlen(response), HAL_MAX_DELAY);
	}
	else if (!(data[10]<='8' && data[10]>='1')){
		uint32_t time = HAL_GetTick();
		char response3[100];
		sprintf(response3,"[ERROR][MUSIC not found][%lu]\n",time);
		HAL_UART_Transmit(&huart1, response3, strlen(response3), HAL_MAX_DELAY);
	}
	else{
		int temp = data[10]-'0';
		current_music = temp;
		Play_Music();
		uint32_t time = HAL_GetTick();
		char response4[100];
		sprintf(response4,"[INFO][MUSIC CHANGED TO %d][%lu]\n",temp,time);
		HAL_UART_Transmit(&huart1, response4, strlen(response4), HAL_MAX_DELAY);
	}
}

void check_change_volume (int x){
	if (x < 17 || x > 19){
		uint32_t time = HAL_GetTick();
		char response[100];
		sprintf(response,"[ERROR][UNKNOWN-COMMAND][%lu]\n",time);
		HAL_UART_Transmit(&huart1, response, strlen(response), HAL_MAX_DELAY);
	}
	else if (x == 17){
		if (data[13]!='(' || data[15]!=')'){
			uint32_t time = HAL_GetTick();
			char response[100];
			sprintf(response,"[ERROR][FORGOT PARANTHESIS ?][%lu]\n",time);
			HAL_UART_Transmit(&huart1, response, strlen(response), HAL_MAX_DELAY);
		}
		else if (!isdigit(data[14])){
			uint32_t time = HAL_GetTick();
			char response[100];
			sprintf(response,"[ERROR][Volume not valid][%lu]\n",time);
			HAL_UART_Transmit(&huart1, response, strlen(response), HAL_MAX_DELAY);
		}
		else{
			int temp =  data[14]-'0';
			vlm = temp;
			uint32_t time = HAL_GetTick();
			char response[100];
			sprintf(response,"[INFO][Volume Changed to %d][%lu]\n",temp,time);
			HAL_UART_Transmit(&huart1, response, strlen(response), HAL_MAX_DELAY);
		}
	}
	else if (x == 18){
		if (data[13]!='(' || data[16]!=')'){
			uint32_t time = HAL_GetTick();
			char response[100];
			sprintf(response,"[ERROR][FORGOT PARANTHESIS ?][%lu]\n",time);
			HAL_UART_Transmit(&huart1, response, strlen(response), HAL_MAX_DELAY);
		}
		else if (!isdigit(data[14]) || !isdigit(data[15])){
			uint32_t time = HAL_GetTick();
			char response[100];
			sprintf(response,"[ERROR][Volume not valid][%lu]\n",time);
			HAL_UART_Transmit(&huart1, response, strlen(response), HAL_MAX_DELAY);
		}
		else{
			int temp1 =  data[14]-'0';
			int temp2 = data[15]-'0';
			int temp = (temp1*10+temp2);
			vlm = temp;
			uint32_t time = HAL_GetTick();
			char response[100];
			sprintf(response,"[INFO][Volume Changed to %d][%lu]\n",temp,time);
			HAL_UART_Transmit(&huart1, response, strlen(response), HAL_MAX_DELAY);
		}
	}
	else if (x == 19){
		if (data[13]!='(' || data[17]!=')'){
			uint32_t time = HAL_GetTick();
			char response[100];
			sprintf(response,"[ERROR][FORGOT PARANTHESIS ?][%lu]\n",time);
			HAL_UART_Transmit(&huart1, response, strlen(response), HAL_MAX_DELAY);
		}
		else if (!isdigit(data[14]) || !isdigit(data[15]) || !isdigit(data[16])){
			uint32_t time = HAL_GetTick();
			char response[100];
			sprintf(response,"[ERROR][Volume not valid][%lu]\n",time);
			HAL_UART_Transmit(&huart1, response, strlen(response), HAL_MAX_DELAY);
		}
		else{
			int temp1 =  data[14]-'0';
			int temp2 = data[15]-'0';
			int temp3 = data[16]-'0';
			int temp = (temp1*100 + temp2*10 + temp3);
			uint32_t time = HAL_GetTick();
			if (temp > 100){
				char error[100];
				sprintf(error,"[ERROR][Volume not valid][%lu]\n",time);
				HAL_UART_Transmit(&huart1, error, strlen(error), HAL_MAX_DELAY);
			}
			else{
				vlm = temp;
				char response[100];
				sprintf(response,"[INFO][Volume Changed to %d][%lu]\n",temp,time);
				HAL_UART_Transmit(&huart1, response, strlen(response), HAL_MAX_DELAY);
			}
		}
	}
}

void check_play_mode (int x){
	if (data[9]!='(' || data[17]!=')'){
		uint32_t time = HAL_GetTick();
		char response[100];
		sprintf(response,"[ERROR][FORGOT PARANTHESIS?][%lu]\n",time);
		HAL_UART_Transmit(&huart1, response, strlen(response), HAL_MAX_DELAY);
	}
	else if (data[10]=='S' && data[11] == 'H' && data[12] == 'U' && data[13] == 'F' && data[14] == 'F' && data[15] == 'L' && data[16] == 'E'){
		is_shuffle = 1;
		uint32_t time = HAL_GetTick();
		char response[100];
		sprintf(response,"[INFO][Play Mode Changed to Shuffle][%lu]\n",time);
		HAL_UART_Transmit(&huart1, response, strlen(response), HAL_MAX_DELAY);
	}
	else if (data[10]=='O' && data[11] == 'R' && data[12] == 'D' && data[13] == 'E' && data[14] == 'R' && data[15] == 'E' && data[16] == 'D'){
		is_shuffle = 0;
		uint32_t time = HAL_GetTick();
		char response[100];
		sprintf(response,"[INFO][Play Mode Changed to ORDERED][%lu]\n",time);
		HAL_UART_Transmit(&huart1, response, strlen(response), HAL_MAX_DELAY);
	}
	else{
		uint32_t time = HAL_GetTick();
		char response[100];
		sprintf(response,"[ERROR][INVALID INPUT (SHUFFLE OR ORDERED)][%lu]\n",time);
		HAL_UART_Transmit(&huart1, response, strlen(response), HAL_MAX_DELAY);
	}
}

void check_pause_after (int x){
	if (data[11]!='(' || data[x-2]!=')'){
		uint32_t time = HAL_GetTick();
		char response[100];
		sprintf(response,"[ERROR][FORGOT PARANTHESIS][%lu]\n",time);
		HAL_UART_Transmit(&huart1, response, strlen(response), HAL_MAX_DELAY);
	}
	else {
		int flag = 1 ,j,res = 0;
		for (j = 12 ; j<(x-2);j++){
			if(!isdigit(data[j])){
				flag = 0;
				break;
			}
			else{
				res*=10;
				res+=(data[j]-'0');
			}
		}
		if (flag == 0){
			uint32_t time = HAL_GetTick();
			char response[100];
			sprintf(response,"[ERROR][Pause Time not valid][%lu]\n",time);
			HAL_UART_Transmit(&huart1, response, strlen(response), HAL_MAX_DELAY);
		}
		else{
			is_pause_after = 1;
			pause_after_time = res;
			uint32_t time = HAL_GetTick();
			pause_after_start = time;
			char response[100];
			sprintf(response,"[INFO][Pause Time Changed to %d][%lu]\n",res,time);
			HAL_UART_Transmit(&huart1, response, strlen(response), HAL_MAX_DELAY);
		}
	}
}
void HAL_UART_RxCpltCallback(UART_HandleTypeDef *huart) {
	if (huart->Instance == USART1) {
		HAL_UART_Receive_IT(&huart1, &d, 1);
		data[i++] = d;
		if (d == '\n') {
			data[i] = '\0';
			if (data[0] == 'M'){
				char check1[] = "MUSIC_SET";
				if (i < 9){
					uint32_t time = HAL_GetTick();
					char response[100];
					sprintf(response,"[ERROR][UNKNOWN-COMMAND][%lu]\n",time);
					HAL_UART_Transmit(&huart1, response, strlen(response), HAL_MAX_DELAY);
				}
				else if (strncmp(data,check1,9) == 0){
					check_music_set(i);
				}
				else{
					uint32_t time = HAL_GetTick();
					char response[100];
					sprintf(response,"[ERROR][UNKNOWN-COMMAND][%lu]\n",time);
					HAL_UART_Transmit(&huart1, response, strlen(response), HAL_MAX_DELAY);
				}

			}
			if(data[0] == 'C'){
				char check1[] = "Change_Volume";
				if (i<14){
					uint32_t time = HAL_GetTick();
					char response[100];
					sprintf(response,"[ERROR][UNKNOWN-COMMAND][%lu]\n",time);
					HAL_UART_Transmit(&huart1, response, strlen(response), HAL_MAX_DELAY);
				}
				else if (strncmp(data,check1,13) == 0){
					check_change_volume(i);
				}
				else{
					uint32_t time = HAL_GetTick();
					char response[100];
					sprintf(response,"[ERROR][UNKNOWN-COMMAND][%lu]\n",time);
					HAL_UART_Transmit(&huart1, response, strlen(response), HAL_MAX_DELAY);
				}
			}
			if (data[0] == 'P' && data[1] == 'l'){
				if (i!=19){
					uint32_t time = HAL_GetTick();
					char response[100];
					sprintf(response,"[ERROR][UNKNOWN-COMMAND][%lu]\n",time);
					HAL_UART_Transmit(&huart1, response, strlen(response), HAL_MAX_DELAY);
				}
				char check1[] = "Play_Mode";
				if (strncmp(data,check1,9) == 0){
					check_play_mode(i);
				}
				else{
					uint32_t time = HAL_GetTick();
					char response[100];
					sprintf(response,"[ERROR][UNKNOWN-COMMAND][%lu]\n",time);
					HAL_UART_Transmit(&huart1, response, strlen(response), HAL_MAX_DELAY);
				}
			}
			if (data[0] == 'P' && data[1] == 'a'){
				char check1[] = "Pause_After";
				if (strncmp(data,check1,11) == 0){
					check_pause_after(i);
				}
				else{
					uint32_t time = HAL_GetTick();
					char response[100];
					sprintf(response,"[ERROR][UNKNOWN-COMMAND][%lu]\n",time);
					HAL_UART_Transmit(&huart1, response, strlen(response), HAL_MAX_DELAY);
				}
			}
			i = 0;
		}
	}
}
/* USER CODE END 0 */

int main(void)
{

  /* MCU Configuration--------------------------------------------------------*/

  /* Reset of all peripherals, Initializes the Flash interface and the Systick. */
  HAL_Init();

  /* Configure the system clock */
  SystemClock_Config();

  /* Initialize all configured peripherals */
  MX_GPIO_Init();
  MX_I2C1_Init();
  MX_SPI1_Init();
  MX_USB_PCD_Init();
  MX_TIM2_Init();
  MX_ADC1_Init();
  MX_USART1_UART_Init();
  MX_TIM6_Init();
  MX_TIM7_Init();
  MX_TIM16_Init();
  MX_TIM17_Init();
  /* USER CODE BEGIN 2 */
  HAL_TIM_Base_Start_IT(&htim6);
  HAL_TIM_Base_Start_IT(&htim7);
  HAL_TIM_Base_Start_IT(&htim16);
  HAL_TIM_Base_Start_IT(&htim17);

  HAL_ADC_Start_IT(&hadc1);
  HAL_UART_Receive_IT(&huart1, &d, 1);
  PWM_Start();

  /* USER CODE END 2 */

  /* Infinite loop */
  while (1)
  {

  }
}

void SystemClock_Config(void)
{
  RCC_OscInitTypeDef RCC_OscInitStruct = {0};
  RCC_ClkInitTypeDef RCC_ClkInitStruct = {0};
  RCC_PeriphCLKInitTypeDef PeriphClkInit = {0};

  /** Initializes the RCC Oscillators according to the specified parameters
  * in the RCC_OscInitTypeDef structure.
  */
  RCC_OscInitStruct.OscillatorType = RCC_OSCILLATORTYPE_HSI|RCC_OSCILLATORTYPE_HSE;
  RCC_OscInitStruct.HSEState = RCC_HSE_BYPASS;
  RCC_OscInitStruct.HSEPredivValue = RCC_HSE_PREDIV_DIV1;
  RCC_OscInitStruct.HSIState = RCC_HSI_ON;
  RCC_OscInitStruct.HSICalibrationValue = RCC_HSICALIBRATION_DEFAULT;
  RCC_OscInitStruct.PLL.PLLState = RCC_PLL_ON;
  RCC_OscInitStruct.PLL.PLLSource = RCC_PLLSOURCE_HSE;
  RCC_OscInitStruct.PLL.PLLMUL = RCC_PLL_MUL6;
  if (HAL_RCC_OscConfig(&RCC_OscInitStruct) != HAL_OK)
  {
    Error_Handler();
  }

  /** Initializes the CPU, AHB and APB buses clocks
  */
  RCC_ClkInitStruct.ClockType = RCC_CLOCKTYPE_HCLK|RCC_CLOCKTYPE_SYSCLK
                              |RCC_CLOCKTYPE_PCLK1|RCC_CLOCKTYPE_PCLK2;
  RCC_ClkInitStruct.SYSCLKSource = RCC_SYSCLKSOURCE_PLLCLK;
  RCC_ClkInitStruct.AHBCLKDivider = RCC_SYSCLK_DIV1;
  RCC_ClkInitStruct.APB1CLKDivider = RCC_HCLK_DIV2;
  RCC_ClkInitStruct.APB2CLKDivider = RCC_HCLK_DIV1;

  if (HAL_RCC_ClockConfig(&RCC_ClkInitStruct, FLASH_LATENCY_1) != HAL_OK)
  {
    Error_Handler();
  }
  PeriphClkInit.PeriphClockSelection = RCC_PERIPHCLK_USB|RCC_PERIPHCLK_USART1
                              |RCC_PERIPHCLK_I2C1|RCC_PERIPHCLK_ADC12;
  PeriphClkInit.Usart1ClockSelection = RCC_USART1CLKSOURCE_PCLK2;
  PeriphClkInit.Adc12ClockSelection = RCC_ADC12PLLCLK_DIV1;
  PeriphClkInit.I2c1ClockSelection = RCC_I2C1CLKSOURCE_HSI;
  PeriphClkInit.USBClockSelection = RCC_USBCLKSOURCE_PLL;
  if (HAL_RCCEx_PeriphCLKConfig(&PeriphClkInit) != HAL_OK)
  {
    Error_Handler();
  }
}

static void MX_ADC1_Init(void)
{

  ADC_MultiModeTypeDef multimode = {0};
  ADC_ChannelConfTypeDef sConfig = {0};

  /** Common config
  */
  hadc1.Instance = ADC1;
  hadc1.Init.ClockPrescaler = ADC_CLOCK_ASYNC_DIV1;
  hadc1.Init.Resolution = ADC_RESOLUTION_10B;
  hadc1.Init.ScanConvMode = ADC_SCAN_DISABLE;
  hadc1.Init.ContinuousConvMode = ENABLE;
  hadc1.Init.DiscontinuousConvMode = DISABLE;
  hadc1.Init.ExternalTrigConvEdge = ADC_EXTERNALTRIGCONVEDGE_NONE;
  hadc1.Init.ExternalTrigConv = ADC_SOFTWARE_START;
  hadc1.Init.DataAlign = ADC_DATAALIGN_RIGHT;
  hadc1.Init.NbrOfConversion = 1;
  hadc1.Init.DMAContinuousRequests = DISABLE;
  hadc1.Init.EOCSelection = ADC_EOC_SINGLE_CONV;
  hadc1.Init.LowPowerAutoWait = DISABLE;
  hadc1.Init.Overrun = ADC_OVR_DATA_OVERWRITTEN;
  if (HAL_ADC_Init(&hadc1) != HAL_OK)
  {
    Error_Handler();
  }

  /** Configure the ADC multi-mode
  */
  multimode.Mode = ADC_MODE_INDEPENDENT;
  if (HAL_ADCEx_MultiModeConfigChannel(&hadc1, &multimode) != HAL_OK)
  {
    Error_Handler();
  }

  /** Configure Regular Channel
  */
  sConfig.Channel = ADC_CHANNEL_3;
  sConfig.Rank = ADC_REGULAR_RANK_1;
  sConfig.SingleDiff = ADC_SINGLE_ENDED;
  sConfig.SamplingTime = ADC_SAMPLETIME_181CYCLES_5;
  sConfig.OffsetNumber = ADC_OFFSET_NONE;
  sConfig.Offset = 0;
  if (HAL_ADC_ConfigChannel(&hadc1, &sConfig) != HAL_OK)
  {
    Error_Handler();
  }

}

static void MX_I2C1_Init(void)
{

  hi2c1.Instance = I2C1;
  hi2c1.Init.Timing = 0x2000090E;
  hi2c1.Init.OwnAddress1 = 0;
  hi2c1.Init.AddressingMode = I2C_ADDRESSINGMODE_7BIT;
  hi2c1.Init.DualAddressMode = I2C_DUALADDRESS_DISABLE;
  hi2c1.Init.OwnAddress2 = 0;
  hi2c1.Init.OwnAddress2Masks = I2C_OA2_NOMASK;
  hi2c1.Init.GeneralCallMode = I2C_GENERALCALL_DISABLE;
  hi2c1.Init.NoStretchMode = I2C_NOSTRETCH_DISABLE;
  if (HAL_I2C_Init(&hi2c1) != HAL_OK)
  {
    Error_Handler();
  }

  /** Configure Analogue filter
  */
  if (HAL_I2CEx_ConfigAnalogFilter(&hi2c1, I2C_ANALOGFILTER_ENABLE) != HAL_OK)
  {
    Error_Handler();
  }

  /** Configure Digital filter
  */
  if (HAL_I2CEx_ConfigDigitalFilter(&hi2c1, 0) != HAL_OK)
  {
    Error_Handler();
  }

}

static void MX_SPI1_Init(void)
{

  /* SPI1 parameter configuration*/
  hspi1.Instance = SPI1;
  hspi1.Init.Mode = SPI_MODE_MASTER;
  hspi1.Init.Direction = SPI_DIRECTION_2LINES;
  hspi1.Init.DataSize = SPI_DATASIZE_4BIT;
  hspi1.Init.CLKPolarity = SPI_POLARITY_LOW;
  hspi1.Init.CLKPhase = SPI_PHASE_1EDGE;
  hspi1.Init.NSS = SPI_NSS_SOFT;
  hspi1.Init.BaudRatePrescaler = SPI_BAUDRATEPRESCALER_4;
  hspi1.Init.FirstBit = SPI_FIRSTBIT_MSB;
  hspi1.Init.TIMode = SPI_TIMODE_DISABLE;
  hspi1.Init.CRCCalculation = SPI_CRCCALCULATION_DISABLE;
  hspi1.Init.CRCPolynomial = 7;
  hspi1.Init.CRCLength = SPI_CRC_LENGTH_DATASIZE;
  hspi1.Init.NSSPMode = SPI_NSS_PULSE_ENABLE;
  if (HAL_SPI_Init(&hspi1) != HAL_OK)
  {
    Error_Handler();
  }

}

static void MX_TIM2_Init(void)
{

  TIM_MasterConfigTypeDef sMasterConfig = {0};
  TIM_OC_InitTypeDef sConfigOC = {0};

  htim2.Instance = TIM2;
  htim2.Init.Prescaler = 0;
  htim2.Init.CounterMode = TIM_COUNTERMODE_UP;
  htim2.Init.Period = 4294967295;
  htim2.Init.ClockDivision = TIM_CLOCKDIVISION_DIV1;
  htim2.Init.AutoReloadPreload = TIM_AUTORELOAD_PRELOAD_DISABLE;
  if (HAL_TIM_PWM_Init(&htim2) != HAL_OK)
  {
    Error_Handler();
  }
  sMasterConfig.MasterOutputTrigger = TIM_TRGO_RESET;
  sMasterConfig.MasterSlaveMode = TIM_MASTERSLAVEMODE_DISABLE;
  if (HAL_TIMEx_MasterConfigSynchronization(&htim2, &sMasterConfig) != HAL_OK)
  {
    Error_Handler();
  }
  sConfigOC.OCMode = TIM_OCMODE_PWM1;
  sConfigOC.Pulse = 0;
  sConfigOC.OCPolarity = TIM_OCPOLARITY_HIGH;
  sConfigOC.OCFastMode = TIM_OCFAST_DISABLE;
  if (HAL_TIM_PWM_ConfigChannel(&htim2, &sConfigOC, TIM_CHANNEL_2) != HAL_OK)
  {
    Error_Handler();
  }
  HAL_TIM_MspPostInit(&htim2);

}

static void MX_TIM6_Init(void)
{

  TIM_MasterConfigTypeDef sMasterConfig = {0};

  htim6.Instance = TIM6;
  htim6.Init.Prescaler = 48-1;
  htim6.Init.CounterMode = TIM_COUNTERMODE_UP;
  htim6.Init.Period = 5000-1;
  htim6.Init.AutoReloadPreload = TIM_AUTORELOAD_PRELOAD_DISABLE;
  if (HAL_TIM_Base_Init(&htim6) != HAL_OK)
  {
    Error_Handler();
  }
  sMasterConfig.MasterOutputTrigger = TIM_TRGO_RESET;
  sMasterConfig.MasterSlaveMode = TIM_MASTERSLAVEMODE_DISABLE;
  if (HAL_TIMEx_MasterConfigSynchronization(&htim6, &sMasterConfig) != HAL_OK)
  {
    Error_Handler();
  }

}

static void MX_TIM7_Init(void)
{

  TIM_MasterConfigTypeDef sMasterConfig = {0};

  htim7.Instance = TIM7;
  htim7.Init.Prescaler = 48-1;
  htim7.Init.CounterMode = TIM_COUNTERMODE_UP;
  htim7.Init.Period = 10000-1;
  htim7.Init.AutoReloadPreload = TIM_AUTORELOAD_PRELOAD_DISABLE;
  if (HAL_TIM_Base_Init(&htim7) != HAL_OK)
  {
    Error_Handler();
  }
  sMasterConfig.MasterOutputTrigger = TIM_TRGO_RESET;
  sMasterConfig.MasterSlaveMode = TIM_MASTERSLAVEMODE_DISABLE;
  if (HAL_TIMEx_MasterConfigSynchronization(&htim7, &sMasterConfig) != HAL_OK)
  {
    Error_Handler();
  }

}

static void MX_TIM16_Init(void)
{

  htim16.Instance = TIM16;
  htim16.Init.Prescaler = 48-1;
  htim16.Init.CounterMode = TIM_COUNTERMODE_UP;
  htim16.Init.Period = 1000-1;
  htim16.Init.ClockDivision = TIM_CLOCKDIVISION_DIV1;
  htim16.Init.RepetitionCounter = 0;
  htim16.Init.AutoReloadPreload = TIM_AUTORELOAD_PRELOAD_DISABLE;
  if (HAL_TIM_Base_Init(&htim16) != HAL_OK)
  {
    Error_Handler();
  }

}

static void MX_TIM17_Init(void)
{

  htim17.Instance = TIM17;
  htim17.Init.Prescaler = 48-1;
  htim17.Init.CounterMode = TIM_COUNTERMODE_UP;
  htim17.Init.Period = 1000-1;
  htim17.Init.ClockDivision = TIM_CLOCKDIVISION_DIV1;
  htim17.Init.RepetitionCounter = 0;
  htim17.Init.AutoReloadPreload = TIM_AUTORELOAD_PRELOAD_DISABLE;
  if (HAL_TIM_Base_Init(&htim17) != HAL_OK)
  {
    Error_Handler();
  }

}

static void MX_USART1_UART_Init(void)
{

  huart1.Instance = USART1;
  huart1.Init.BaudRate = 9600;
  huart1.Init.WordLength = UART_WORDLENGTH_8B;
  huart1.Init.StopBits = UART_STOPBITS_1;
  huart1.Init.Parity = UART_PARITY_NONE;
  huart1.Init.Mode = UART_MODE_TX_RX;
  huart1.Init.HwFlowCtl = UART_HWCONTROL_NONE;
  huart1.Init.OverSampling = UART_OVERSAMPLING_16;
  huart1.Init.OneBitSampling = UART_ONE_BIT_SAMPLE_DISABLE;
  huart1.AdvancedInit.AdvFeatureInit = UART_ADVFEATURE_NO_INIT;
  if (HAL_UART_Init(&huart1) != HAL_OK)
  {
    Error_Handler();
  }

}

static void MX_USB_PCD_Init(void)
{

  hpcd_USB_FS.Instance = USB;
  hpcd_USB_FS.Init.dev_endpoints = 8;
  hpcd_USB_FS.Init.speed = PCD_SPEED_FULL;
  hpcd_USB_FS.Init.phy_itface = PCD_PHY_EMBEDDED;
  hpcd_USB_FS.Init.low_power_enable = DISABLE;
  hpcd_USB_FS.Init.battery_charging_enable = DISABLE;
  if (HAL_PCD_Init(&hpcd_USB_FS) != HAL_OK)
  {
    Error_Handler();
  }

}

static void MX_GPIO_Init(void)
{
  GPIO_InitTypeDef GPIO_InitStruct = {0};

  /* GPIO Ports Clock Enable */
  __HAL_RCC_GPIOE_CLK_ENABLE();
  __HAL_RCC_GPIOC_CLK_ENABLE();
  __HAL_RCC_GPIOF_CLK_ENABLE();
  __HAL_RCC_GPIOA_CLK_ENABLE();
  __HAL_RCC_GPIOD_CLK_ENABLE();
  __HAL_RCC_GPIOB_CLK_ENABLE();

  /*Configure GPIO pin Output Level */
  HAL_GPIO_WritePin(GPIOE, CS_I2C_SPI_Pin|LD4_Pin|LD3_Pin|LD5_Pin
                          |LD7_Pin|LD9_Pin|LD10_Pin|LD8_Pin
                          |LD6_Pin, GPIO_PIN_RESET);

  /*Configure GPIO pin Output Level */
  HAL_GPIO_WritePin(GPIOC, GPIO_PIN_0, GPIO_PIN_RESET);

  /*Configure GPIO pin Output Level */
  HAL_GPIO_WritePin(GPIOD, GPIO_PIN_8|GPIO_PIN_9|GPIO_PIN_10|GPIO_PIN_11
                          |GPIO_PIN_1|GPIO_PIN_2|GPIO_PIN_3|GPIO_PIN_4, GPIO_PIN_RESET);

  /*Configure GPIO pins : DRDY_Pin MEMS_INT3_Pin MEMS_INT4_Pin MEMS_INT1_Pin
                           MEMS_INT2_Pin */
  GPIO_InitStruct.Pin = DRDY_Pin|MEMS_INT3_Pin|MEMS_INT4_Pin|MEMS_INT1_Pin
                          |MEMS_INT2_Pin;
  GPIO_InitStruct.Mode = GPIO_MODE_EVT_RISING;
  GPIO_InitStruct.Pull = GPIO_NOPULL;
  HAL_GPIO_Init(GPIOE, &GPIO_InitStruct);

  /*Configure GPIO pins : CS_I2C_SPI_Pin LD4_Pin LD3_Pin LD5_Pin
                           LD7_Pin LD9_Pin LD10_Pin LD8_Pin
                           LD6_Pin */
  GPIO_InitStruct.Pin = CS_I2C_SPI_Pin|LD4_Pin|LD3_Pin|LD5_Pin
                          |LD7_Pin|LD9_Pin|LD10_Pin|LD8_Pin
                          |LD6_Pin;
  GPIO_InitStruct.Mode = GPIO_MODE_OUTPUT_PP;
  GPIO_InitStruct.Pull = GPIO_NOPULL;
  GPIO_InitStruct.Speed = GPIO_SPEED_FREQ_LOW;
  HAL_GPIO_Init(GPIOE, &GPIO_InitStruct);

  /*Configure GPIO pin : PC0 */
  GPIO_InitStruct.Pin = GPIO_PIN_0;
  GPIO_InitStruct.Mode = GPIO_MODE_OUTPUT_PP;
  GPIO_InitStruct.Pull = GPIO_NOPULL;
  GPIO_InitStruct.Speed = GPIO_SPEED_FREQ_LOW;
  HAL_GPIO_Init(GPIOC, &GPIO_InitStruct);

  /*Configure GPIO pin : B1_Pin */
  GPIO_InitStruct.Pin = B1_Pin;
  GPIO_InitStruct.Mode = GPIO_MODE_INPUT;
  GPIO_InitStruct.Pull = GPIO_NOPULL;
  HAL_GPIO_Init(B1_GPIO_Port, &GPIO_InitStruct);

  /*Configure GPIO pins : PD8 PD9 PD10 PD11
                           PD1 PD2 PD3 PD4 */
  GPIO_InitStruct.Pin = GPIO_PIN_8|GPIO_PIN_9|GPIO_PIN_10|GPIO_PIN_11
                          |GPIO_PIN_1|GPIO_PIN_2|GPIO_PIN_3|GPIO_PIN_4;
  GPIO_InitStruct.Mode = GPIO_MODE_OUTPUT_PP;
  GPIO_InitStruct.Pull = GPIO_NOPULL;
  GPIO_InitStruct.Speed = GPIO_SPEED_FREQ_LOW;
  HAL_GPIO_Init(GPIOD, &GPIO_InitStruct);

  /*Configure GPIO pins : PD12 PD13 PD14 */
  GPIO_InitStruct.Pin = GPIO_PIN_12|GPIO_PIN_13|GPIO_PIN_14;
  GPIO_InitStruct.Mode = GPIO_MODE_IT_RISING_FALLING;
  GPIO_InitStruct.Pull = GPIO_PULLDOWN;
  HAL_GPIO_Init(GPIOD, &GPIO_InitStruct);

  /* EXTI interrupt init*/
  HAL_NVIC_SetPriority(EXTI15_10_IRQn, 0, 0);
  HAL_NVIC_EnableIRQ(EXTI15_10_IRQn);

}

void Error_Handler(void)
{
  __disable_irq();
  while (1)
  {
  }
}
